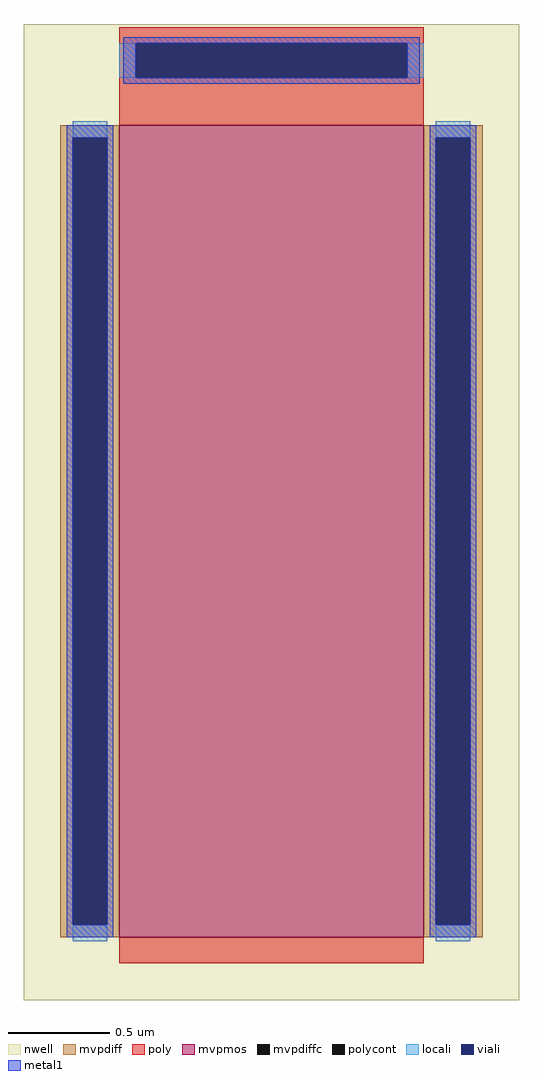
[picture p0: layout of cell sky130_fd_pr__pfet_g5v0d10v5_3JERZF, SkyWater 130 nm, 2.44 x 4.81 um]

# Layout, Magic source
magic
tech sky130A
magscale 1 2
<< nwell >>
rect -244 -498 244 464
<< mvpmos >>
rect -150 -436 150 364
<< mvpdiff >>
rect -208 352 -150 364
rect -208 -424 -196 352
rect -162 -424 -150 352
rect -208 -436 -150 -424
rect 150 352 208 364
rect 150 -424 162 352
rect 196 -424 208 352
rect 150 -436 208 -424
<< mvpdiffc >>
rect -196 -424 -162 352
rect 162 -424 196 352
<< poly >>
rect -150 445 150 461
rect -150 411 -134 445
rect 134 411 150 445
rect -150 364 150 411
rect -150 -462 150 -436
<< polycont >>
rect -134 411 134 445
<< locali >>
rect -150 411 -134 445
rect 134 411 150 445
rect -196 352 -162 368
rect -196 -440 -162 -424
rect 162 352 196 368
rect 162 -440 196 -424
<< viali >>
rect -134 411 134 445
rect -196 -424 -162 352
rect 162 -424 196 352
<< metal1 >>
rect -146 445 146 451
rect -146 411 -134 445
rect 134 411 146 445
rect -146 405 146 411
rect -202 352 -156 364
rect -202 -424 -196 352
rect -162 -424 -156 352
rect -202 -436 -156 -424
rect 156 352 202 364
rect 156 -424 162 352
rect 196 -424 202 352
rect 156 -436 202 -424
<< properties >>
string gencell sky130_fd_pr__pfet_g5v0d10v5
string library sky130
string parameters w 4 l 1.5 m 1 nf 1 diffcov 100 polycov 100 guard 0 glc 1 grc 1 gtc 1 gbc 1 tbcov 100 rlcov 100 topc 1 botc 0 poverlap 0 doverlap 1 lmin 0.50 wmin 0.42 compatible {sky130_fd_pr__pfet_01v8  sky130_fd_pr__pfet_01v8_lvt sky130_fd_pr__pfet_01v8_hvt  sky130_fd_pr__pfet_g5v0d10v5} full_metal 1 viasrc 100 viadrn 100 viagate 100 viagb 0 viagr 0 viagl 0 viagt 0
<< end >>
